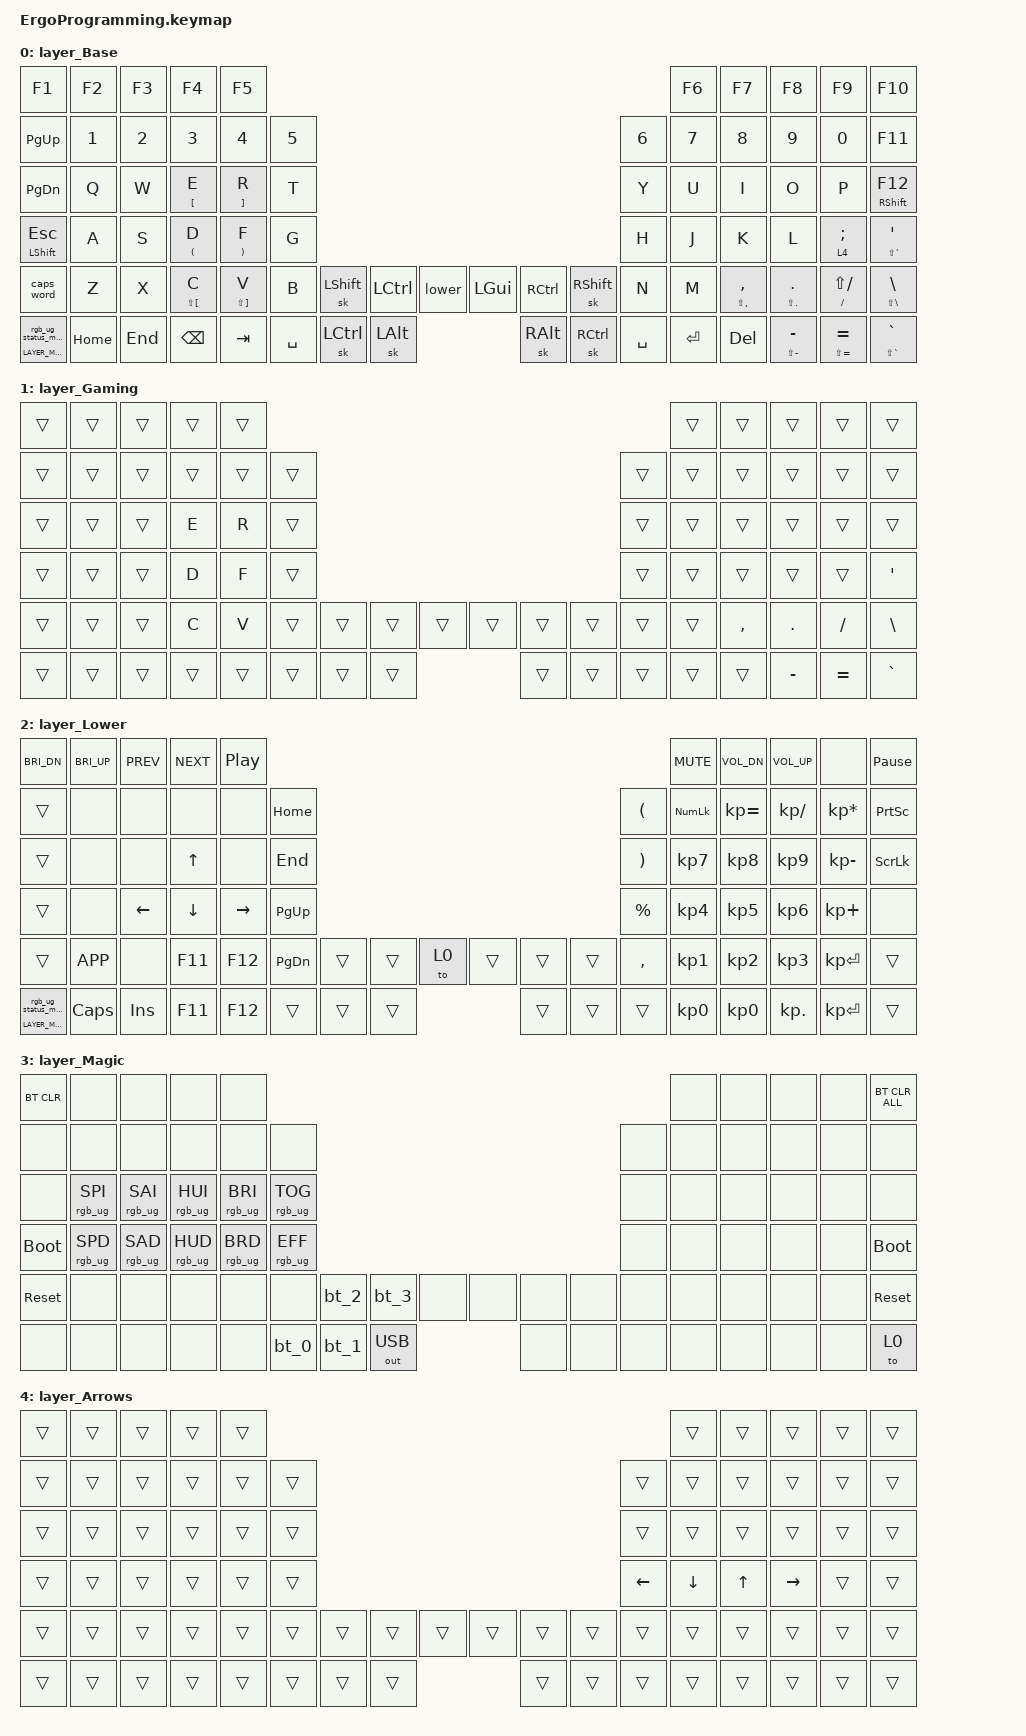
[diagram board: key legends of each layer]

/*
 * Copyright (c) 2020 The ZMK Contributors
 * Copyright (c) 2023 Innaworks Development Limited, trading as MoErgo
 *
 * SPDX-License-Identifier: MIT
 */


/* THIS FILE WAS GENERATED BY GLOVE80 LAYOUT EDITOR
 *
 * This file was generated automatically. You may or may not want to
 * edit it directly.
 */

#include <behaviors.dtsi>
/* Include all behavior includes needed */
#include <dt-bindings/zmk/outputs.h>
#include <dt-bindings/zmk/keys.h>
#include <dt-bindings/zmk/bt.h>
#include <dt-bindings/zmk/rgb.h>

/* Automatically generated layer name #define */
#define LAYER_Base 0
#define LAYER_Gaming 1
#define LAYER_Lower 2
#define LAYER_Magic 3
#define LAYER_Arrows 4

/* To deal with the situation where there is no Lower layer, to keep &lower happy */
#ifndef LAYER_Lower
#define LAYER_Lower 0
#endif

/* Custom Device-tree */
&mt {
    tapping-term-ms = <400>;
};
&caps_word {
    continue-list = <UNDERSCORE MINUS>;
};
/* Empty underglow layer definition (for copy-paste)
        mylayer {
            bindings = <
                ______ ______ ______ ______ ______                                                          ______ ______ ______ ______ ______
                ______ ______ ______ ______ ______ ______                                            ______ ______ ______ ______ ______ ______
                ______ ______ ______ ______ ______ ______                                            ______ ______ ______ ______ ______ ______
                ______ ______ ______ ______ ______ ______                                            ______ ______ ______ ______ ______ ______
                ______ ______ ______ ______ ______ ______ ______ ______ ______  ______ ______ ______ ______ ______ ______ ______ ______ ______
                ______ ______ ______ ______ ______        ______ ______ ______  ______ ______ ______        ______ ______ ______ ______ ______
                >;
            layer-id = <LAYER_Name>;
        };
*/
#include <dt-bindings/zmk/rgb_colors.h>
/ {
    underglow-layer {
        compatible  = "zmk,underglow-layer";
        base {
            bindings = <
                ______ ______ ______ ______ ______                                                          ______ ______ ______ ______ ______
                ______ ______ ______ ______ ______ ______                                            ______ ______ ______ ______ ______ ______
                ______ ______ ______ TEAL GOLD ______                                            ______ ______ ______ ______ ______ GREEN
                GREEN ______ ______ TEAL GOLD ______                                            ______ ______ ______ ______ PINK WHITE
                ______ ______ ______ TEAL GOLD ______ GREEN ______ PINK  ______ ______ GREEN ______ ______ WHITE WHITE WHITE WHITE
                ______ ______ ______ RED BLUE        ______ YELLOW ORANGE  ORANGE YELLOW ______        PURPLE RED WHITE WHITE WHITE
                >;
            layer-id = <LAYER_Base>;
        };
        arrows {
            bindings = <
                ______ ______ ______ ______ ______                                                          ______ ______ ______ ______ ______
                ______ ______ ______ ______ ______ ______                                            ______ ______ ______ ______ ______ ______
                ______ ______ ______ ______ ______ ______                                            ______ ______ ______ ______ ______ ______
                ______ ______ ______ ______ ______ ______                                            PURPLE PURPLE PURPLE PURPLE ______ ______
                ______ ______ ______ ______ ______ ______ ______ ______ ______  ______ ______ ______ ______ ______ ______ ______ ______ ______
                ______ ______ ______ ______ ______        ______ ______ ______  ______ ______ ______        ______ ______ ______ ______ ______
                >;
            layer-id = <LAYER_Arrows>;
        };
        lower {
            bindings = <
                ______ ______ ______ ______ ______                                                          ______ ______ ______ ______ ______
                PURPLE   PINK   PINK   PINK   PINK   PINK                                            ______   GOLD ORANGE ORANGE ORANGE    RED
                PURPLE ______ ______ ORANGE ______ ______                                            ______ YELLOW YELLOW YELLOW ORANGE ______
                PURPLE ______ ORANGE    RED ORANGE ______                                            ______ YELLOW YELLOW YELLOW ORANGE ______
                  BLUE ______    RED    RED    RED ______ ______ ______ ______  ______ ______ ______ ______ YELLOW YELLOW YELLOW    RED   BLUE
                ______ ______ ORANGE ORANGE ORANGE        ______  GREEN ______  ______ ______ ______        YELLOW YELLOW ORANGE    RED ______
                >;
            layer-id = <LAYER_Lower>;
        };
        gaming {
            bindings = <
                ______ ______ ______ ______ ______                                                          ______ ______ ______ ______ ______
                ______ ______ ______ ______ ______ ______                                            ______ ______ ______ ______ ______ ______
                ______ ______ ______ ______ ______ ______                                            ______ ______ ______ ______ ______ ______
                ______ ______ ______ ______ ______ ______                                            ______ ______ ______ ______ ______ ______
                ______ ______ ______ ______ ______ ______ ______ ______ ______  ______ ______ ______ ______ ______ ______ ______ ______ ______
                ______ ______ ______ ______ ______        ______ ______ ______  ______ ______ ______        ______ ______ ______ ______ ______
                >;
            layer-id = <LAYER_Gaming>;
        };
    };
};


/* Glove80 system behavior & macros */
/ {
    behaviors {
        // For the "layer" key, it'd nice to be able to use it as either a shift or a toggle.
        // Configure it as a tap dance, so the first tap (or hold) is a &mo and the second tap is a &to
        lower: lower {
            compatible = "zmk,behavior-tap-dance";
            label = "LAYER_TAP_DANCE";
            #binding-cells = <0>;
            tapping-term-ms = <200>;
            bindings = <&mo LAYER_Lower>, <&to LAYER_Lower>;
        };
    };
};

/ {
    macros {
        rgb_ug_status_macro: rgb_ug_status_macro {
            label = "RGB_UG_STATUS";
            compatible = "zmk,behavior-macro";
            #binding-cells = <0>;
            bindings
                = <&rgb_ug RGB_STATUS>;
        };
    };
};


/ {
#ifdef BT_DISC_CMD
    behaviors {
        bt_0: bt_0 {
            compatible = "zmk,behavior-tap-dance";
            label = "BT_0";
            #binding-cells = <0>;
            tapping-term-ms = <200>;
            bindings = <&bt_select_0>, <&bt BT_DISC 0>;
        };
        bt_1: bt_1 {
            compatible = "zmk,behavior-tap-dance";
            label = "BT_1";
            #binding-cells = <0>;
            tapping-term-ms = <200>;
            bindings = <&bt_select_1>, <&bt BT_DISC 1>;
        };
        bt_2: bt_2 {
            compatible = "zmk,behavior-tap-dance";
            label = "BT_2";
            #binding-cells = <0>;
            tapping-term-ms = <200>;
            bindings = <&bt_select_2>, <&bt BT_DISC 2>;
        };
        bt_3: bt_3 {
            compatible = "zmk,behavior-tap-dance";
            label = "BT_3";
            #binding-cells = <0>;
            tapping-term-ms = <200>;
            bindings = <&bt_select_3>, <&bt BT_DISC 3>;
        };
    };
    macros {
        bt_select_0: bt_select_0 {
            label = "BT_SELECT_0";
            compatible = "zmk,behavior-macro";
            #binding-cells = <0>;
            bindings
                = <&out OUT_BLE>,
                  <&bt BT_SEL 0>;
        };
        bt_select_1: bt_select_1 {
            label = "BT_SELECT_1";
            compatible = "zmk,behavior-macro";
            #binding-cells = <0>;
            bindings
                = <&out OUT_BLE>,
                  <&bt BT_SEL 1>;
        };
        bt_select_2: bt_select_2 {
            label = "BT_SELECT_2";
            compatible = "zmk,behavior-macro";
            #binding-cells = <0>;
            bindings
                = <&out OUT_BLE>,
                  <&bt BT_SEL 2>;
        };
        bt_select_3: bt_select_3 {
            label = "BT_SELECT_3";
            compatible = "zmk,behavior-macro";
            #binding-cells = <0>;
            bindings
                = <&out OUT_BLE>,
                  <&bt BT_SEL 3>;
        };
    };
#else
    macros {
        bt_0: bt_0 {
            label = "BT_0";
            compatible = "zmk,behavior-macro";
            #binding-cells = <0>;
            bindings
                = <&out OUT_BLE>,
                  <&bt BT_SEL 0>;
        };
        bt_1: bt_1 {
            label = "BT_1";
            compatible = "zmk,behavior-macro";
            #binding-cells = <0>;
            bindings
                = <&out OUT_BLE>,
                  <&bt BT_SEL 1>;
        };
        bt_2: bt_2 {
            label = "BT_2";
            compatible = "zmk,behavior-macro";
            #binding-cells = <0>;
            bindings
                = <&out OUT_BLE>,
                  <&bt BT_SEL 2>;
        };
        bt_3: bt_3 {
            label = "BT_3";
            compatible = "zmk,behavior-macro";
            #binding-cells = <0>;
            bindings
                = <&out OUT_BLE>,
                  <&bt BT_SEL 3>;
        };
    };
#endif
};

/ {
    behaviors {
        magic: magic {
            compatible = "zmk,behavior-hold-tap";
            label = "MAGIC_HOLD_TAP";
            #binding-cells = <2>;
            flavor = "tap-preferred";
            tapping-term-ms = <200>;
            bindings = <&mo>, <&rgb_ug_status_macro>;
        };
    };
};

/* #define for key positions */
#define POS_LH_T1 52
#define POS_LH_T2 53
#define POS_LH_T3 54
#define POS_LH_T4 69
#define POS_LH_T5 70
#define POS_LH_T6 71
#define POS_LH_C1R2 15
#define POS_LH_C1R3 27
#define POS_LH_C1R4 39
#define POS_LH_C1R5 51
#define POS_LH_C2R1 4
#define POS_LH_C2R2 14
#define POS_LH_C2R3 26
#define POS_LH_C2R4 38
#define POS_LH_C2R5 50
#define POS_LH_C2R6 68
#define POS_LH_C3R1 3
#define POS_LH_C3R2 13
#define POS_LH_C3R3 25
#define POS_LH_C3R4 37
#define POS_LH_C3R5 49
#define POS_LH_C3R6 67
#define POS_LH_C4R1 2
#define POS_LH_C4R2 12
#define POS_LH_C4R3 24
#define POS_LH_C4R4 36
#define POS_LH_C4R5 48
#define POS_LH_C4R6 66
#define POS_LH_C5R1 1
#define POS_LH_C5R2 11
#define POS_LH_C5R3 23
#define POS_LH_C5R4 35
#define POS_LH_C5R5 47
#define POS_LH_C5R6 65
#define POS_LH_C6R1 0
#define POS_LH_C6R2 10
#define POS_LH_C6R3 22
#define POS_LH_C6R4 34
#define POS_LH_C6R5 46
#define POS_LH_C6R6 64
#define POS_RH_T1 57
#define POS_RH_T2 56
#define POS_RH_T3 55
#define POS_RH_T4 74
#define POS_RH_T5 73
#define POS_RH_T6 72
#define POS_RH_C1R2 16
#define POS_RH_C1R3 28
#define POS_RH_C1R4 40
#define POS_RH_C1R5 58
#define POS_RH_C2R1 5
#define POS_RH_C2R2 17
#define POS_RH_C2R3 29
#define POS_RH_C2R4 41
#define POS_RH_C2R5 59
#define POS_RH_C2R6 75
#define POS_RH_C3R1 6
#define POS_RH_C3R2 18
#define POS_RH_C3R3 30
#define POS_RH_C3R4 42
#define POS_RH_C3R5 60
#define POS_RH_C3R6 76
#define POS_RH_C4R1 7
#define POS_RH_C4R2 19
#define POS_RH_C4R3 31
#define POS_RH_C4R4 43
#define POS_RH_C4R5 61
#define POS_RH_C4R6 77
#define POS_RH_C5R1 8
#define POS_RH_C5R2 20
#define POS_RH_C5R3 32
#define POS_RH_C5R4 44
#define POS_RH_C5R5 62
#define POS_RH_C5R6 78
#define POS_RH_C6R1 9
#define POS_RH_C6R2 21
#define POS_RH_C6R3 33
#define POS_RH_C6R4 45
#define POS_RH_C6R5 63
#define POS_RH_C6R6 79

/* Custom Defined Behaviors */
/ {
    behaviors {
        ht: ht {
            label = "HOLD_TAP";
            compatible = "zmk,behavior-hold-tap";
            #binding-cells = <2>;
            flavor = "tap-preferred";
            tapping-term-ms = <400>;
            require-prior-idle-ms = <200>;
            bindings = <&kp>, <&kp>;
        };
    };
};

/* Automatically generated macro definitions */
/ {
    macros {
    
    };
};

/* Automatically generated combos definitions */
/ {
    combos {
            compatible = "zmk,combos";
    };
};

/* Automatically generated keymap */
/ {
    keymap {
        compatible = "zmk,keymap";


        layer_Base {
            bindings = <
               &kp F1    &kp F2   &kp F3        &kp F4        &kp F5                                                                                   &kp F6       &kp F7       &kp F8       &kp F9        &kp F10
            &kp PG_UP    &kp N1   &kp N2        &kp N3        &kp N4  &kp N5                                                                  &kp N6   &kp N7       &kp N8       &kp N9       &kp N0        &kp F11
            &kp PG_DN     &kp Q    &kp W       &ht LBKT E       &ht RBKT R   &kp T                                                                   &kp Y    &kp U        &kp I        &kp O        &kp P  &ht RSHFT F12
        &ht LSHFT ESC     &kp A    &kp S  &ht LPAR D  &ht RPAR F   &kp G                                                                   &kp H    &kp J        &kp K        &kp L   &lt 4 SEMI    &ht LS(SQT) SQT
           &caps_word     &kp Z    &kp X   &ht LS(LBKT) C   &ht LS(RBKT) V   &kp B  &sk LSHFT  &kp LCTRL    &lower  &kp LGUI  &kp RCTRL  &sk RSHFT   &kp N    &kp M  &ht LS(COMMA) COMMA  &ht LS(DOT) DOT  &ht SLASH LS(SLASH)    &ht LS(BACKSLASH) BACKSLASH
 &magic LAYER_Magic 0  &kp HOME  &kp END      &kp BSPC       &kp TAB          &kp SPACE  &sk LCTRL  &sk LALT  &sk RALT  &sk RCTRL  &kp SPACE          &kp RET      &kp DEL    &ht LS(MINUS) MINUS  &ht LS(EQUAL) EQUAL    &ht LS(GRAVE) GRAVE
            >;
        };

        layer_Gaming {
            bindings = <
 &trans  &trans  &trans  &trans  &trans                                                                  &trans     &trans     &trans     &trans     &trans
 &trans  &trans  &trans  &trans  &trans  &trans                                                  &trans  &trans     &trans     &trans     &trans     &trans
 &trans  &trans  &trans   &kp E   &kp R  &trans                                                  &trans  &trans     &trans     &trans     &trans     &trans
 &trans  &trans  &trans   &kp D   &kp F  &trans                                                  &trans  &trans     &trans     &trans     &trans    &kp SQT
 &trans  &trans  &trans   &kp C   &kp V  &trans  &trans  &trans  &trans  &trans  &trans  &trans  &trans  &trans  &kp COMMA    &kp DOT   &kp FSLH   &kp BSLH
 &trans  &trans  &trans  &trans  &trans          &trans  &trans  &trans  &trans  &trans  &trans          &trans     &trans  &kp MINUS  &kp EQUAL  &kp GRAVE
            >;
        };

        layer_Lower {
            bindings = <
         &kp C_BRI_DN  &kp C_BRI_UP      &kp C_PREV      &kp C_NEXT         &kp C_PP                                                                                    &kp C_MUTE  &kp C_VOL_DN  &kp C_VOL_UP            &none  &kp PAUSE_BREAK
               &trans         &none           &none           &none            &none   &kp HOME                                                   &kp LEFT_PARENTHESIS  &kp KP_NUM  &kp KP_EQUAL  &kp KP_SLASH  &kp KP_MULTIPLY  &kp PRINTSCREEN
               &trans         &none           &none    &kp UP_ARROW            &none    &kp END                                                  &kp RIGHT_PARENTHESIS   &kp KP_N7     &kp KP_N8     &kp KP_N9     &kp KP_MINUS   &kp SCROLLLOCK
               &trans         &none  &kp LEFT_ARROW  &kp DOWN_ARROW  &kp RIGHT_ARROW  &kp PG_UP                                                            &kp PERCENT   &kp KP_N4     &kp KP_N5     &kp KP_N6      &kp KP_PLUS            &none
               &trans     &kp K_APP           &none         &kp F11          &kp F12  &kp PG_DN  &trans  &trans   &to 0  &trans  &trans  &trans              &kp COMMA   &kp KP_N1     &kp KP_N2     &kp KP_N3     &kp KP_ENTER           &trans
 &magic LAYER_Magic 0      &kp CAPS         &kp INS         &kp F11          &kp F12             &trans  &trans  &trans  &trans  &trans  &trans                          &kp KP_N0     &kp KP_N0    &kp KP_DOT     &kp KP_ENTER           &trans
            >;
        };

        layer_Magic {
            bindings = <
  &bt BT_CLR            &none            &none            &none            &none                                                                                  &none   &none   &none   &none  &bt BT_CLR_ALL
       &none            &none            &none            &none            &none            &none                                                         &none   &none   &none   &none   &none           &none
       &none  &rgb_ug RGB_SPI  &rgb_ug RGB_SAI  &rgb_ug RGB_HUI  &rgb_ug RGB_BRI  &rgb_ug RGB_TOG                                                         &none   &none   &none   &none   &none           &none
 &bootloader  &rgb_ug RGB_SPD  &rgb_ug RGB_SAD  &rgb_ug RGB_HUD  &rgb_ug RGB_BRD  &rgb_ug RGB_EFF                                                         &none   &none   &none   &none   &none     &bootloader
  &sys_reset            &none            &none            &none            &none            &none   &bt_2   &bt_3         &none   &none   &none   &none   &none   &none   &none   &none   &none      &sys_reset
       &none            &none            &none            &none            &none                    &bt_0   &bt_1  &out OUT_USB   &none   &none   &none           &none   &none   &none   &none           &to 0
            >;
        };

        layer_Arrows {
            bindings = <
 &trans  &trans  &trans  &trans  &trans                                                                      &trans  &trans     &trans  &trans  &trans
 &trans  &trans  &trans  &trans  &trans  &trans                                                    &trans    &trans  &trans     &trans  &trans  &trans
 &trans  &trans  &trans  &trans  &trans  &trans                                                    &trans    &trans  &trans     &trans  &trans  &trans
 &trans  &trans  &trans  &trans  &trans  &trans                                                  &kp LEFT  &kp DOWN  &kp UP  &kp RIGHT  &trans  &trans
 &trans  &trans  &trans  &trans  &trans  &trans  &trans  &trans  &trans  &trans  &trans  &trans    &trans    &trans  &trans     &trans  &trans  &trans
 &trans  &trans  &trans  &trans  &trans          &trans  &trans  &trans  &trans  &trans  &trans              &trans  &trans     &trans  &trans  &trans
            >;
        };

    };
};
